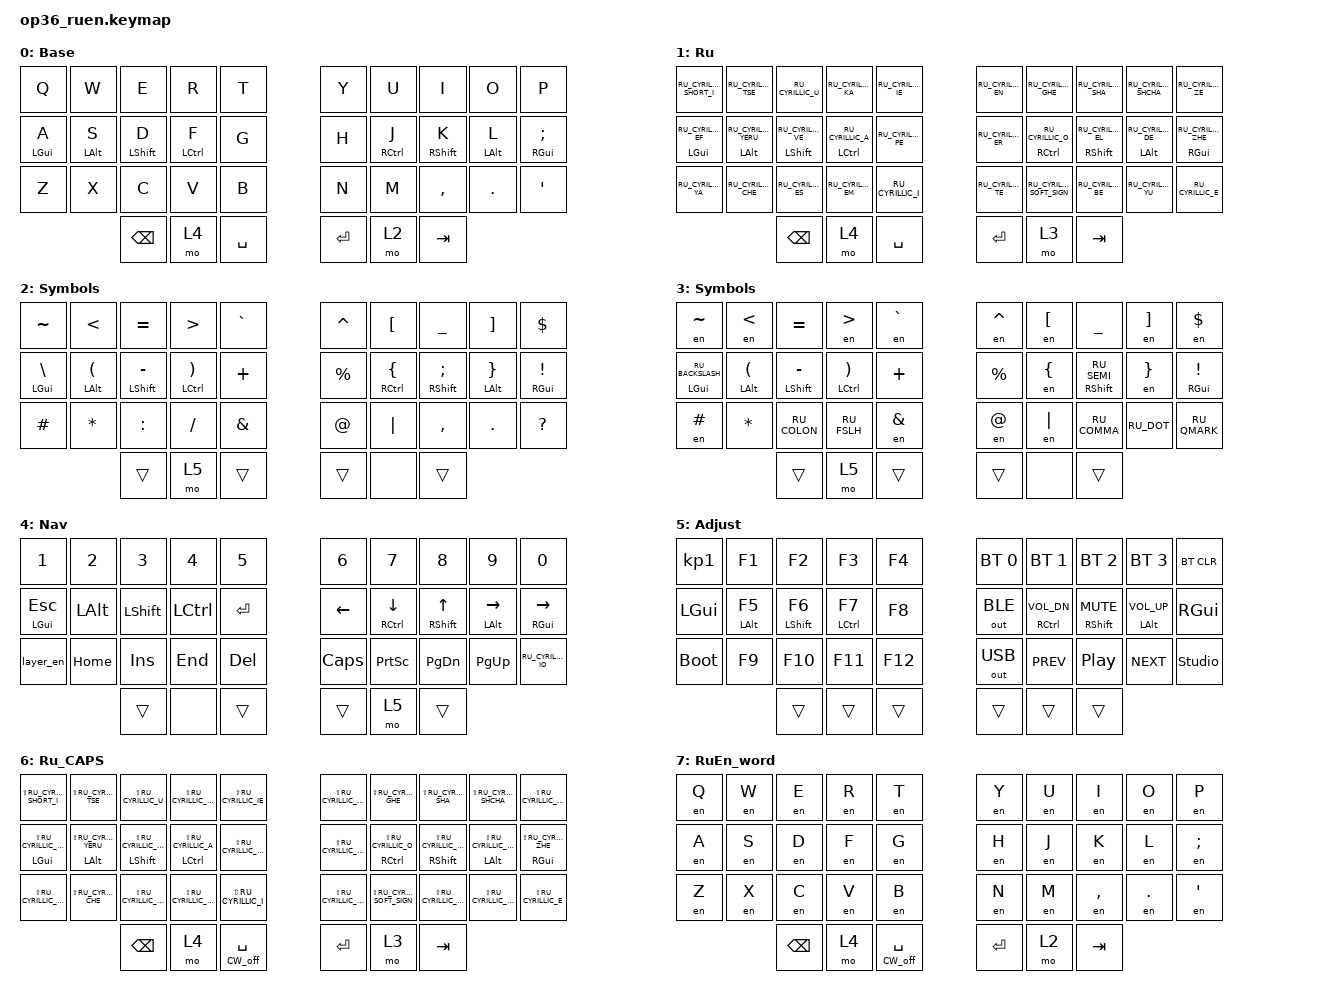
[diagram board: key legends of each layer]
#include "keys_ru.h"
#include "keys_ru.h"
#include <behaviors.dtsi>
#include <dt-bindings/zmk/bt.h>
#include <dt-bindings/zmk/keys.h>
#include <dt-bindings/zmk/outputs.h>

&mt {
    quick-tap-ms = <200>;
    flavor = "tap-preferred";
    require-prior-idle-ms = <125>;
};

/ {
    behaviors {
        hml: home_row_mod_left {
            compatible = "zmk,behavior-hold-tap";
            #binding-cells = <2>;
            flavor = "balanced";
            require-prior-idle-ms = <150>;
            tapping-term-ms = <280>;
            quick-tap-ms = <175>;
            bindings = <&kp>, <&kp>;

            hold-trigger-key-positions = <5 6 7 8 9 15 16 17 18 19 25 26 27 28 29 33 34 35>;
            hold-trigger-on-release;
        };

        hmr: home_row_mod_right {
            compatible = "zmk,behavior-hold-tap";
            #binding-cells = <2>;
            flavor = "balanced";
            require-prior-idle-ms = <150>;
            tapping-term-ms = <280>;
            quick-tap-ms = <175>;
            bindings = <&kp>, <&kp>;

            hold-trigger-key-positions = <0 1 2 3 4 10 11 12 13 14 20 21 22 23 24 30 31 32>;
            hold-trigger-on-release;
        };
    };

    combos {
        compatible = "zmk,combos";

        kha {
            bindings = <&kp RU_CYRILLIC_HA>;
            key-positions = <6 7>;
            layers = <1>;
        };

        hrdsgn {
            bindings = <&kp RU_CYRILLIC_HARD_SIGN>;
            key-positions = <7 8>;
            layers = <1>;
        };

        CAPS_WORD {
            bindings = <&caps_word>;
            key-positions = <22 23>;
            layers = <0 7>;
        };

        RU_CAPS_WORD {
            bindings = <&tog 6>;
            key-positions = <23 22>;
            layers = <1 6>;
        };

        RuEn_word {
            bindings = <&tog 7>;
            key-positions = <26 27>;
            layers = <1>;
        };

        quote_ru {
            bindings = <&en SQT>;
            key-positions = <5 6>;
            layers = <1 7 6>;
        };

        to_en {
            bindings = <&layer_en>;
            key-positions = <12 13>;
            layers = <1 6 7 3 2 0>;
        };

        to_ru {
            bindings = <&layer_ru>;
            key-positions = <16 17>;
            layers = <0 2 3 1 6 7>;
        };

        quote_en {
            bindings = <&kp SQT>;
            key-positions = <5 6>;
            layers = <0>;
        };
    };

    macros {
        to_ru: to_ru {
            compatible = "zmk,behavior-macro";
            #binding-cells = <0>;
            bindings = <&kp LC(LS(NUMBER_8))>;
            label = "TO_RU";
            wait-ms = <0>;
            tap-ms = <30>;
        };

        to_en: to_en {
            compatible = "zmk,behavior-macro";
            #binding-cells = <0>;
            bindings = <&kp LC(LS(N9))>;
            label = "TO_EN";
            wait-ms = <0>;
            tap-ms = <30>;
        };

        layer_en: layer_en {
            compatible = "zmk,behavior-macro";
            #binding-cells = <0>;
            bindings = <&to 0 &to_en>;
            label = "LAYER_EN";
            wait-ms = <0>;
            tap-ms = <30>;
        };

        layer_ru: layer_ru {
            compatible = "zmk,behavior-macro";
            #binding-cells = <0>;
            bindings = <&to 1 &to_ru>;
            label = "LAYER_RU";
            tap-ms = <30>;
            wait-ms = <0>;
        };

        en: en {
            compatible = "zmk,behavior-macro-one-param";
            #binding-cells = <1>;
            bindings =
                <&to_en>,
                <&macro_press>,
                <&macro_param_1to1 &kp MACRO_PLACEHOLDER>,
                <&macro_pause_for_release>,
                <&macro_release>,
                <&macro_param_1to1 &kp MACRO_PLACEHOLDER>,
                <&macro_tap>,
                <&to_ru>;

            label = "EN";
            wait-ms = <0>;
            tap-ms = <30>;
        };

        CW_off: CW_off {
            compatible = "zmk,behavior-macro-one-param";
            #binding-cells = <1>;
            bindings = <&to 1 &macro_param_1to1 &kp MACRO_PLACEHOLDER>;
            label = "CW_OFF";
        };
    };

    keymap {
        compatible = "zmk,keymap";

        en {
            bindings = <
  &kp Q        &kp W        &kp E         &kp R          &kp T                          &kp Y  &kp U         &kp I         &kp O        &kp P
  &hml LGUI A  &hml LALT S  &hml LSHFT D  &hml LCTRL F   &kp G                          &kp H  &hmr RCTRL J  &hmr RSHFT K  &hmr LALT L  &hmr RGUI SEMICOLON
  &kp Z        &kp X        &kp C         &kp V          &kp B                          &kp N  &kp M         &kp COMMA     &kp DOT      &kp SQT
                                          &kp BACKSPACE  &mo 4  &kp SPACE    &kp ENTER  &mo 2  &kp TAB
            >;

            display-name = "Base";
        };

        ru {
            bindings = <
  &kp RU_CYRILLIC_SHORT_I   &kp RU_CYRILLIC_TSE         &kp RU_CYRILLIC_U          &kp RU_CYRILLIC_KA        &kp RU_CYRILLIC_IE                          &kp RU_CYRILLIC_EN  &kp RU_CYRILLIC_GHE        &kp RU_CYRILLIC_SHA        &kp RU_CYRILLIC_SHCHA     &kp RU_CYRILLIC_ZE
  &hml LGUI RU_CYRILLIC_EF  &hml LALT RU_CYRILLIC_YERU  &hml LSHFT RU_CYRILLIC_VE  &hml LCTRL RU_CYRILLIC_A  &kp RU_CYRILLIC_PE                          &kp RU_CYRILLIC_ER  &hmr RCTRL RU_CYRILLIC_O   &hmr RSHFT RU_CYRILLIC_EL  &hmr LALT RU_CYRILLIC_DE  &hmr RGUI RU_CYRILLIC_ZHE
  &kp RU_CYRILLIC_YA        &kp RU_CYRILLIC_CHE         &kp RU_CYRILLIC_ES         &kp RU_CYRILLIC_EM        &kp RU_CYRILLIC_I                           &kp RU_CYRILLIC_TE  &kp RU_CYRILLIC_SOFT_SIGN  &kp RU_CYRILLIC_BE         &kp RU_CYRILLIC_YU        &kp RU_CYRILLIC_E
                                                                                   &kp BACKSPACE             &mo 4               &kp SPACE    &kp ENTER  &mo 3               &kp TAB
            >;

            display-name = "Ru";
        };

        sym_en {
            bindings = <
  &kp TILDE       &kp LT          &kp EQUAL         &kp GT           &kp GRAVE                    &kp CARET  &kp LBKT         &kp UNDER        &kp RBKT        &kp DLLR
  &hml LGUI BSLH  &hml LALT LPAR  &hml LSHFT MINUS  &hml LCTRL RPAR  &kp PLUS                     &kp PRCNT  &hmr RCTRL LBRC  &hmr RSHFT SEMI  &hmr LALT RBRC  &hmr RGUI EXCL
  &kp HASH        &kp STAR        &kp COLON         &kp FSLH         &kp AMPS                     &kp AT     &kp PIPE         &kp COMMA        &kp DOT         &kp QMARK
                                                    &trans           &mo 5      &trans    &trans  &none      &trans
            >;

            display-name = "Symbols";
        };

        sym_ru {
            bindings = <
  &en TILDE               &en LT          &kp EQUAL         &en GT           &en GRAVE                    &en CARET  &en LBKT  &kp UNDER           &en RBKT    &en DLLR
  &hml LGUI RU_BACKSLASH  &hml LALT LPAR  &hml LSHFT MINUS  &hml LCTRL RPAR  &kp PLUS                     &kp PRCNT  &en LBRC  &hmr RSHFT RU_SEMI  &en RBRC    &hmr RGUI EXCL
  &en HASH                &kp STAR        &kp RU_COLON      &kp RU_FSLH      &en AMPS                     &en AT     &en PIPE  &kp RU_COMMA        &kp RU_DOT  &kp RU_QMARK
                                                            &trans           &mo 5      &trans    &trans  &none      &trans
            >;

            display-name = "Symbols";
        };

        nav {
            bindings = <
  &kp N1         &kp N2    &kp N3     &kp N4     &kp N5                        &kp N6          &kp N7           &kp N8         &kp N9           &kp N0
  &hml LGUI ESC  &kp LALT  &kp LSHFT  &kp LCTRL  &kp ENTER                     &kp LEFT_ARROW  &hmr RCTRL DOWN  &hmr RSHFT UP  &hmr LALT RIGHT  &hmr RGUI RIGHT
  &layer_en      &kp HOME  &kp INS    &kp END    &kp DELETE                    &kp CAPS        &kp PSCRN        &kp PG_DN      &kp PG_UP        &kp RU_CYRILLIC_IO
                                      &trans     &none       &trans    &trans  &mo 5           &trans
            >;

            display-name = "Nav";
        };

        adj {
            bindings = <
  &kp KP_NUMBER_1  &kp F1        &kp F2         &kp F3         &kp F4                     &bt BT_SEL 0  &bt BT_SEL 1         &bt BT_SEL 2       &bt BT_SEL 3        &bt BT_CLR
  &kp LGUI         &hml LALT F5  &hml LSHFT F6  &hml LCTRL F7  &kp F8                     &out OUT_BLE  &hmr RCTRL C_VOL_DN  &hmr RSHFT C_MUTE  &hmr LALT C_VOL_UP  &kp RGUI
  &bootloader      &kp F9        &kp F10        &kp F11        &kp F12                    &out OUT_USB  &kp C_PREV           &kp C_PP           &kp C_NEXT          &studio_unlock
                                                &trans         &trans   &trans    &trans  &trans        &trans
            >;

            display-name = "Adjust";
        };

        RU_CAPS {
            display-name = "Ru_CAPS";
            bindings = <
  &kp LS(RU_CYRILLIC_SHORT_I)   &kp LS(RU_CYRILLIC_TSE)         &kp LS(RU_CYRILLIC_U)          &kp LS(RU_CYRILLIC_KA)        &kp LS(RU_CYRILLIC_IE)                              &kp LS(RU_CYRILLIC_EN)  &kp LS(RU_CYRILLIC_GHE)        &kp LS(RU_CYRILLIC_SHA)        &kp LS(RU_CYRILLIC_SHCHA)     &kp LS(RU_CYRILLIC_ZE)
  &hml LGUI LS(RU_CYRILLIC_EF)  &hml LALT LS(RU_CYRILLIC_YERU)  &hml LSHFT LS(RU_CYRILLIC_VE)  &hml LCTRL LS(RU_CYRILLIC_A)  &kp LS(RU_CYRILLIC_PE)                              &kp LS(RU_CYRILLIC_ER)  &hmr RCTRL LS(RU_CYRILLIC_O)   &hmr RSHFT LS(RU_CYRILLIC_EL)  &hmr LALT LS(RU_CYRILLIC_DE)  &hmr RGUI LS(RU_CYRILLIC_ZHE)
  &kp LS(RU_CYRILLIC_YA)        &kp LS(RU_CYRILLIC_CHE)         &kp LS(RU_CYRILLIC_ES)         &kp LS(RU_CYRILLIC_EM)        &kp LS(RU_CYRILLIC_I)                               &kp LS(RU_CYRILLIC_TE)  &kp LS(RU_CYRILLIC_SOFT_SIGN)  &kp LS(RU_CYRILLIC_BE)         &kp LS(RU_CYRILLIC_YU)        &kp LS(RU_CYRILLIC_E)
                                                                                               &kp BACKSPACE                 &mo 4                   &CW_off SPACE    &kp ENTER  &mo 3                   &kp TAB
            >;
        };

        RuEn_word {
            display-name = "RuEn_word";
            bindings = <
  &en Q  &en W  &en E  &en R          &en T                              &en Y  &en U    &en I      &en O    &en P
  &en A  &en S  &en D  &en F          &en G                              &en H  &en J    &en K      &en L    &en SEMICOLON
  &en Z  &en X  &en C  &en V          &en B                              &en N  &en M    &en COMMA  &en DOT  &en SQT
                       &kp BACKSPACE  &mo 4  &CW_off SPACE    &kp ENTER  &mo 2  &kp TAB
            >;
        };
    };
};
